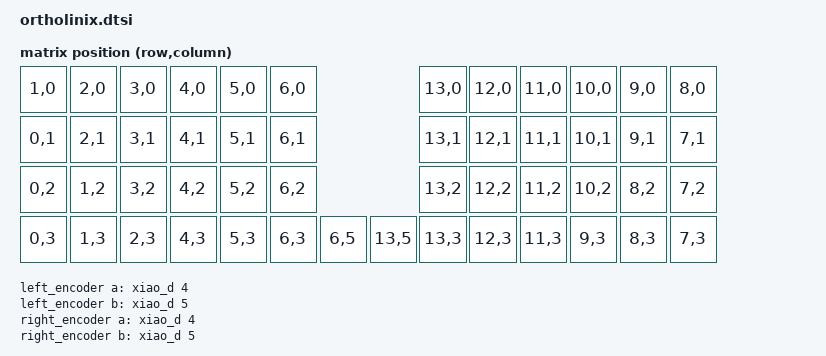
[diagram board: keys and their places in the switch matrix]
#include <dt-bindings/zmk/matrix_transform.h>
#include <physical_layouts.dtsi>

/ {
    chosen {
        zmk,physical-layout = &physical_layout0;
    };

    physical_layout0: physical_layout_0 {
        compatible = "zmk,physical-layout";
        display-name = "Default Layout";
        kscan = <&kscan0>; // Label of the kscan node this layout uses
        transform = <&default_transform>; // Label of the matrix transform this layout uses

        keys  //                     w   h    x    y     rot    rx    ry
            = <&key_physical_attrs 100 100    0    0       0     0     0>
            , <&key_physical_attrs 100 100  100    0       0     0     0>
            , <&key_physical_attrs 100 100  200    0       0     0     0>
            , <&key_physical_attrs 100 100  300    0       0     0     0>
            , <&key_physical_attrs 100 100  400    0       0     0     0>
            , <&key_physical_attrs 100 100  500    0       0     0     0>
            , <&key_physical_attrs 100 100  600    0       0     0     0>

            , <&key_physical_attrs 100 100 1000    0       0     0     0>
            , <&key_physical_attrs 100 100 1100    0       0     0     0>
            , <&key_physical_attrs 100 100 1200    0       0     0     0>
            , <&key_physical_attrs 100 100 1300    0       0     0     0>
            , <&key_physical_attrs 100 100 1400    0       0     0     0>
            , <&key_physical_attrs 100 100 1500    0       0     0     0>
            , <&key_physical_attrs 100 100 1600    0       0     0     0>

            , <&key_physical_attrs 100 100    0  100       0     0     0>
            , <&key_physical_attrs 100 100  100  100       0     0     0>
            , <&key_physical_attrs 100 100  200  100       0     0     0>
            , <&key_physical_attrs 100 100  300  100       0     0     0>
            , <&key_physical_attrs 100 100  400  100       0     0     0>
            , <&key_physical_attrs 100 100  500  100       0     0     0>
            , <&key_physical_attrs 100 100  600  100       0     0     0>

            , <&key_physical_attrs 100 100 1000  100       0     0     0>
            , <&key_physical_attrs 100 100 1100  100       0     0     0>
            , <&key_physical_attrs 100 100 1200  100       0     0     0>
            , <&key_physical_attrs 100 100 1300  100       0     0     0>
            , <&key_physical_attrs 100 100 1400  100       0     0     0>
            , <&key_physical_attrs 100 100 1500  100       0     0     0>
            , <&key_physical_attrs 100 100 1600  100       0     0     0>

            , <&key_physical_attrs 100 100    0  200       0     0     0>
            , <&key_physical_attrs 100 100  100  200       0     0     0>
            , <&key_physical_attrs 100 100  200  200       0     0     0>
            , <&key_physical_attrs 100 100  300  200       0     0     0>
            , <&key_physical_attrs 100 100  400  200       0     0     0>
            , <&key_physical_attrs 100 100  500  200       0     0     0>
            , <&key_physical_attrs 100 100  600  200       0     0     0>

            , <&key_physical_attrs 100 100 1000  200       0     0     0>
            , <&key_physical_attrs 100 100 1100  200       0     0     0>
            , <&key_physical_attrs 100 100 1200  200       0     0     0>
            , <&key_physical_attrs 100 100 1300  200       0     0     0>
            , <&key_physical_attrs 100 100 1400  200       0     0     0>
            , <&key_physical_attrs 100 100 1500  200       0     0     0>
            , <&key_physical_attrs 100 100 1600  200       0     0     0>

            , <&key_physical_attrs 100 100    0  300       0     0     0>
            , <&key_physical_attrs 100 100  100  300       0     0     0>
            , <&key_physical_attrs 100 100  200  300       0     0     0>
            , <&key_physical_attrs 100 100  300  300       0     0     0>
            , <&key_physical_attrs 100 100  400  300       0     0     0>
            , <&key_physical_attrs 100 100  500  300       0     0     0>
            , <&key_physical_attrs 100 100  600  300       0     0     0>

            , <&key_physical_attrs 100 100 1000  300       0     0     0>
            , <&key_physical_attrs 100 100 1100  300       0     0     0>
            , <&key_physical_attrs 100 100 1200  300       0     0     0>
            , <&key_physical_attrs 100 100 1300  300       0     0     0>
            , <&key_physical_attrs 100 100 1400  300       0     0     0>
            , <&key_physical_attrs 100 100 1500  300       0     0     0>
            , <&key_physical_attrs 100 100 1600  300       0     0     0>
            ;
    };

    kscan0: kscan {
        compatible = "zmk,kscan-gpio-charlieplex";
        wakeup-source;
        interrupt-gpios = <&xiao_d 9 (GPIO_ACTIVE_HIGH | GPIO_PULL_DOWN)>;
        debounce-press-ms = <15>;
        debounce-release-ms = <15>;
        poll-period-ms = <5>;
    };

    default_transform: keymap_transform0 {
        compatible = "zmk,matrix-transform";
        rows = <13>;
        columns = <5>;
        map = <
            RC(1,0)  RC(2,0)  RC(3,0)  RC(4,0)  RC(5,0)  RC(6,0)                      RC(13,0)  RC(12,0)  RC(11,0)  RC(10,0)  RC(9,0)  RC(8,0)
            RC(0,1)  RC(2,1)  RC(3,1)  RC(4,1)  RC(5,1)  RC(6,1)                      RC(13,1)  RC(12,1)  RC(11,1)  RC(10,1)  RC(9,1)  RC(7,1)
            RC(0,2)  RC(1,2)  RC(3,2)  RC(4,2)  RC(5,2)  RC(6,2)                      RC(13,2)  RC(12,2)  RC(11,2)  RC(10,2)  RC(8,2)  RC(7,2)
            RC(0,3)  RC(1,3)  RC(2,3)  RC(4,3)  RC(5,3)  RC(6,3)   RC(6,5)  RC(13,5)  RC(13,3)  RC(12,3)  RC(11,3)  RC(9,3)  RC(8,3)  RC(7,3)
        >;
    };

    left_encoder: encoder_left {
        compatible = "alps,ec11";
        a-gpios = <&xiao_d 4 (GPIO_ACTIVE_HIGH | GPIO_PULL_UP)>;
        b-gpios = <&xiao_d 5 (GPIO_ACTIVE_HIGH | GPIO_PULL_UP)>;
        steps = <12>;
        status = "disabled";
    };

    right_encoder: encoder_right {
        compatible = "alps,ec11";
        a-gpios = <&xiao_d 4 (GPIO_ACTIVE_HIGH | GPIO_PULL_UP)>;
        b-gpios = <&xiao_d 5 (GPIO_ACTIVE_HIGH | GPIO_PULL_UP)>;
        steps = <12>;
        status = "disabled";
    };

    sensors: sensors {
        compatible = "zmk,keymap-sensors";
        sensors = <&left_encoder>;
        triggers-per-rotation = <10>;
    };
};

&xiao_serial { status = "disabled"; };
